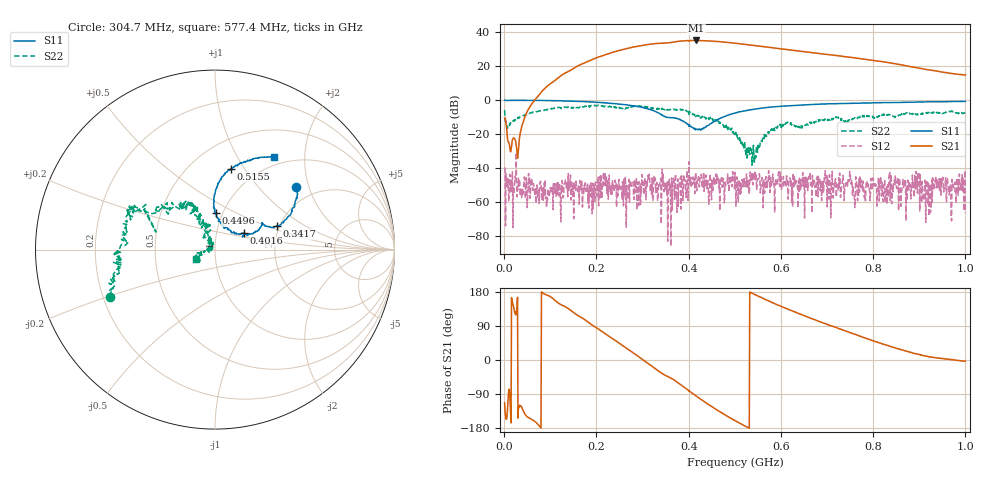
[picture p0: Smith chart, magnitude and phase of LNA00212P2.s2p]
! Created with skrf 1.9.0 (http://scikit-rf.org).
# Hz S RI R 50.0
!freq ReS11 ImS11 ReS21 ImS21 ReS12 ImS12 ReS22 ImS22
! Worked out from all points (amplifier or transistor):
!   1001 points, 1 MHz to 1 GHz, reference 50 ohm
!   highest |S21| = 35.1 dB at 416.6 MHz (marker M1)
!   |S21| within 3 dB of that: 298.2 MHz to 542.1 MHz (243.9 MHz wide, 58.1 % of centre)
!   unconditionally stable (mu >= 1): start of sweep to 132.9 MHz; 314.9 MHz to 400.4 MHz; 400.8 MHz to end of sweep (the widest 3 of 23)
!   at 166.8 MHz: K = 2.77, MAG = 29.6 dB, |S12| = -52.9 dB
!   at 500.5 MHz: K = 1.34, MAG = 34.6 dB, |S12| = -42.7 dB
!   at 1 GHz: K = 29.74, MAG = 22.9 dB, |S12| = -66.6 dB
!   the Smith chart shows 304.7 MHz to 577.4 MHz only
!   S11 on the Smith chart (normalised r, x): 304.7 MHz: 1.59, +1.66; 341.7 MHz: 1.93, +0.58; 401.6 MHz: 1.36, +0.25; 449.6 MHz: 0.93, +0.39; 515.5 MHz: 0.77, +0.88; 577.4 MHz: 0.88, +1.44
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1000000  0.7824 -0.6114  -0.1117 -0.2672  -0.0102 2.94e-05  0.3812 0.3286
1.01899e8  -0.6898 0.6581  -3.014 0.7552  0.0015 0.00126  0.4385 -0.3124
1.67833e8  -0.2243 0.8687  -4.287 10.53  -0.00446 -0.000216  0.0408 -0.6213
2.06794e8  0.0655 0.8394  3.34 18.58  2.08e-05 -0.00272  -0.1594 -0.6469
2.44756e8  0.296 0.7048  18.31 20.62  -0.00128 -0.00321  -0.3214 -0.4903
2.75725e8  0.4147 0.5407  32.53 13.24  -0.00286 0.000153  -0.5434 -0.3433
3.04696e8  0.452 0.3513  41.55 -2.156  -0.00175 -0.00474  -0.5856 -0.2618
3.34666e8  0.3813 0.1492  40.6 -22.63  0.00133 0.0032  -0.5226 -0.0737
3.41659e8  0.3431 0.1312  38.57 -26.9  -0.00194 0.00146  -0.5271 -0.014
3.72628e8  0.2573 0.1319  29.19 -43.42  0.00131 -0.000978  -0.472 0.1786
4.01599e8  0.1613 0.0905  7.822 -55.57  -0.00281 -0.00243  -0.3999 0.2298
4.16584e8  0.0902 0.0993  -5.342 -56.31  0.00254 0.00255  -0.2535 0.2241
4.49551e8  0.00466 0.2026  -29.25 -45.54  0.000767 -0.000833  -0.1046 0.2327
4.73527e8  -0.00362 0.3076  -39.7 -32.17  0.00235 0.00134  -0.0901 0.1703
5.005e8  0.0488 0.4121  -44.25 -16.09  0.00612 -0.00396  -0.0617 0.0723
5.15485e8  0.0909 0.4508  -43.72 -7.783  0.00355 -0.00279  -0.0254 0.0564
5.77423e8  0.3294 0.5143  -31.41 15.54  0.00193 -0.00467  -0.1055 -0.0525
6.18382e8  0.4705 0.484  -20.13 21.99  0.0014 -0.0045  -0.1654 -0.1113
6.67333e8  0.6227 0.3867  -8.037 23.26  -0.000317 -0.000345  -0.2075 -0.0431
7.53247e8  0.7754 0.1637  5.818 16.78  -0.00438 -0.000516  -0.2665 0.0232
8.34166e8  0.8308 -0.0667  9.967 7.568  -0.0055 0.00115  -0.3665 0.0139
1e9  0.7267 -0.5394  5.448 -0.3085  0.000119 -0.000455  -0.2481 0.3243
